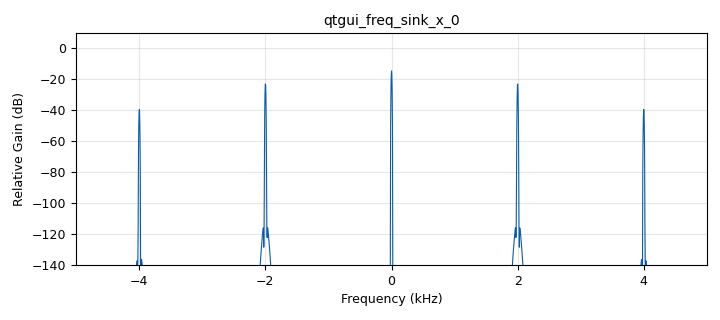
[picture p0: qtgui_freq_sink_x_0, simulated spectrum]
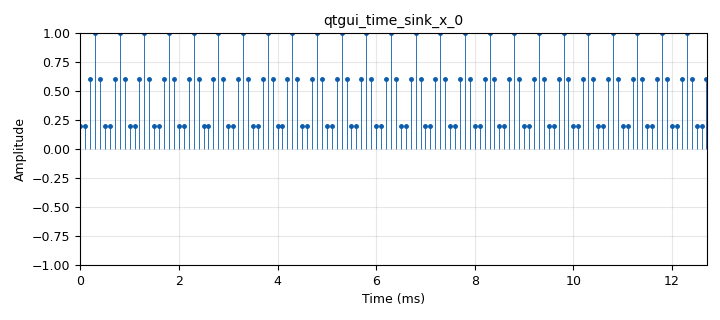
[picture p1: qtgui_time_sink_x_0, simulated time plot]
options:
  parameters:
    author: DiegoEspinel_DiegoGarcia_B1A_G2
    generate_options: qt_gui
    id: Parte_B
    output_language: python
    title: LAB1_ParteB_Puntos1_2_3
  states: {}

blocks:
- name: F_max
  id: variable_qtgui_range
  parameters:
    label: Frequency_Signal
    start: '1000'
    step: '1000'
    stop: '40000'
    value: '2000'
  states: {}
- name: Fsamp_rate
  id: variable
  parameters:
    value: '32000'
  states: {state: disabled}
- name: Fsamp_rate
  id: variable_qtgui_range
  parameters:
    label: Frecuencia de Muestreo
    start: '1000'
    step: '1000'
    stop: '80000'
    value: '10000'
  states: {}
- name: analog_sig_source_x_0
  id: analog_sig_source_x
  parameters:
    amp: '1'
    freq: F_max
    offset: '0'
    phase: '0'
    samp_rate: Fsamp_rate
    type: float
    waveform: analog.GR_TRI_WAVE
  states: {}
- name: blocks_throttle2_0
  id: blocks_throttle2
  parameters:
    samples_per_second: Fsamp_rate
    type: float
  states: {}
- name: qtgui_freq_sink_x_0
  id: qtgui_freq_sink_x
  parameters:
    bw: Fsamp_rate
    fc: '0'
    fftsize: '2048'
    type: float
  states: {}
- name: qtgui_time_sink_x_0
  id: qtgui_time_sink_x
  parameters:
    size: '128'
    srate: Fsamp_rate
    stemplot: 'True'
    type: float
  states: {}

connections:
- [analog_sig_source_x_0, '0', blocks_throttle2_0, '0']
- [blocks_throttle2_0, '0', qtgui_freq_sink_x_0, '0']
- [blocks_throttle2_0, '0', qtgui_time_sink_x_0, '0']

metadata:
  file_format: 1
  grc_version: 3.10.9.2
